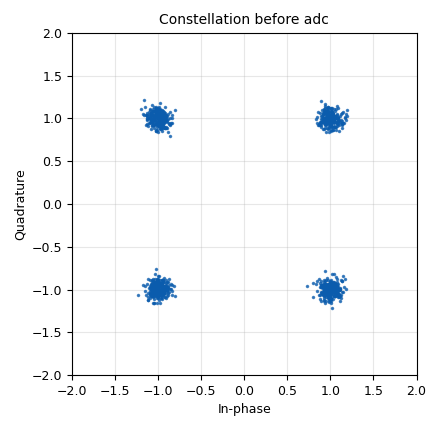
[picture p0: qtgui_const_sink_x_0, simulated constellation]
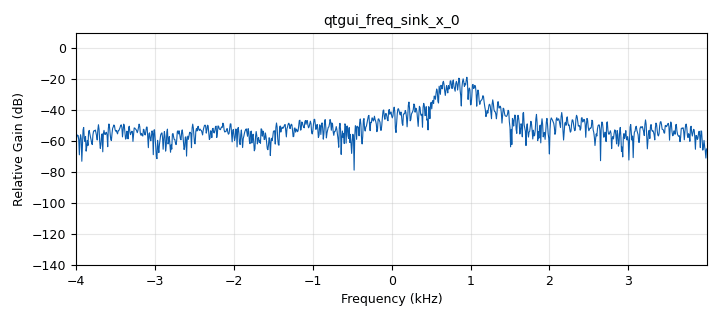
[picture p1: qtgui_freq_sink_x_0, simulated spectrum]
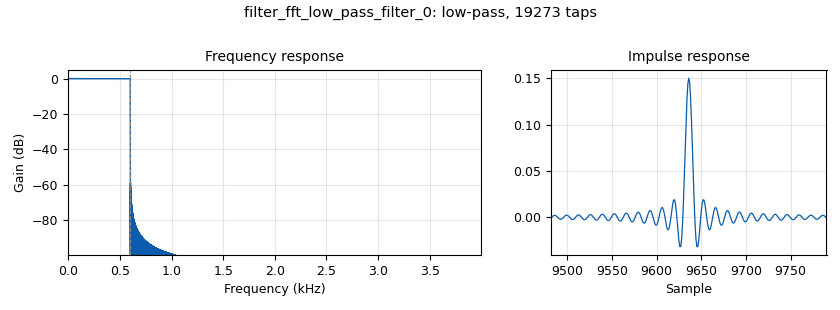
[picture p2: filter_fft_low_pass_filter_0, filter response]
options:
  parameters:
    author: IvanB
    generate_options: qt_gui
    id: untitled
    output_language: python
    title: Not titled yet
  states: {}

blocks:
- name: Vpp
  id: variable
  parameters:
    value: '2'
  states: {}
- name: beta
  id: variable
  parameters:
    value: '0.2'
  states: {}
- name: cutoff_freq
  id: variable
  parameters:
    value: '600'
  states: {}
- name: enob
  id: variable
  parameters:
    value: '3'
  states: {}
- name: fp
  id: variable
  parameters:
    value: fs/10
  states: {}
- name: fs
  id: variable
  parameters:
    value: '8000'
  states: {}
- name: n_samples
  id: variable
  parameters:
    value: fs*time
  states: {}
- name: noise
  id: variable_qtgui_range
  parameters:
    start: '0'
    step: '0.001'
    stop: '0.5'
    value: '0.1'
  states: {}
- name: qpsk
  id: variable
  parameters:
    value: '[-1-1j,+1-1j,1+1j,-1+1j]'
  states: {}
- name: samples_per_symbol
  id: variable
  parameters:
    value: '20'
  states: {}
- name: syms
  id: variable
  parameters:
    value: '10'
  states: {}
- name: time
  id: variable
  parameters:
    value: '0.5'
  states: {}
- name: upsampling
  id: variable
  parameters:
    value: '64'
  states: {}
- name: analog_noise_source_x_0
  id: analog_noise_source_x
  parameters:
    amp: noise
    noise_type: analog.GR_GAUSSIAN
    seed: '0'
    type: complex
  states: {}
- name: analog_random_source_x_0
  id: analog_random_source_x
  parameters:
    max: '255'
    min: '0'
    num_samps: '1000'
    repeat: 'True'
    type: byte
  states: {}
- name: blocks_add_xx_0
  id: blocks_add_xx
  parameters:
    type: complex
  states: {}
- name: blocks_complex_to_real_0
  id: blocks_complex_to_real
  parameters: {}
  states: {}
- name: blocks_packed_to_unpacked_xx_0
  id: blocks_packed_to_unpacked_xx
  parameters:
    bits_per_chunk: '2'
    endianness: gr.GR_MSB_FIRST
    type: byte
  states: {}
- name: blocks_repeat_0
  id: blocks_repeat
  parameters:
    interp: upsampling
    type: float
  states: {}
- name: blocks_throttle2_0
  id: blocks_throttle2
  parameters:
    samples_per_second: fs
    type: complex
  states: {state: disabled}
- name: digital_chunks_to_symbols_xx_0
  id: digital_chunks_to_symbols_xx
  parameters:
    dimension: '1'
    in_type: byte
    out_type: complex
    symbol_table: qpsk
  states: {}
- name: epy_block_0
  id: epy_block
  parameters:
    P: samples_per_symbol
    _source_code: |
      import numpy as np
      from gnuradio import gr
      from scipy import signal


      class blk(gr.sync_block):  # other base classes are basic_block, decim_block, interp_block
          """Convolve Block"""

          def __init__(self, syms=10, beta=0.2, P=20):  # only default arguments here
              """Arguments to this function show up as parameters in GRC"""
              gr.sync_block.__init__(
                  self,
                  name='Convolve',  # will show up in GRC
                  in_sig=[np.complex64],
                  out_sig=[np.complex64]
              )
              self.syms = syms
              self.beta = beta
              self.P = P

          def root_raised_cos(self):
              k = np.arange(-self.syms * self.P + 1e-8, (self.syms * self.P + 1e-8) + 1)
              s = (np.sin(np.pi * (1 - self.beta) * k / self.P) +
                   4 * self.beta * k / self.P * np.cos(np.pi * k / self.P * (1 + self.beta))) / \
                  (np.pi * k / self.P * (1 - 16 * (self.beta**2) * (k / self.P)**2))
              s = s / np.sqrt(np.sum(np.abs(s)**2))
              return s

          def work(self, input_items, output_items):
              h_rrc = self.root_raised_cos()
              signal_qpsk = signal.convolve(input_items[0], h_rrc, mode='same')
              output_items[0][:] = signal_qpsk
              return len(output_items[0])
    beta: beta
    syms: syms
  states: {}
- name: epy_block_0_0
  id: epy_block
  parameters:
    Vpp: Vpp
    _source_code: |-
      import numpy as np
      from gnuradio import gr

      class blk(gr.sync_block):  
          """ADC Delta Sigma Block"""

          def __init__(self, Vpp=2, enob=3, upsampling=64):  # only default arguments here
              """arguments to this function show up as parameters in GRC"""
              gr.sync_block.__init__(
                  self,
                  name='ADC delta sigma qpsk',   # will show up in GRC
                  in_sig=[np.float32],
                  out_sig=[np.float32]
              )
              self.Vpp = Vpp
              self.enob = enob
              self.upsampling = upsampling

          def ADC_Delta_Sigma(self, signal_in):
              signal_feedback = np.zeros(len(signal_in))
              signal_integrator = np.zeros(len(signal_in))
              signal_out = np.zeros(len(signal_in))
              
              # Loop
              for i in np.arange(0, len(signal_in)):
                  # Delta
                  if i == 0:
                      signal_feedback[i] = signal_in[i]
                  else:
                      signal_feedback[i] = signal_in[i] - signal_out[i-1]
                  
                  # Intégrateur
                  if i == 0:
                      signal_integrator[i] = signal_feedback[i]
                  else:
                      signal_integrator[i] = signal_feedback[i] + signal_integrator[i-1]

                  signal_integrator[i] = self.Vpp / (2**self.enob) * np.round(signal_integrator[i] / (self.Vpp / (2**self.enob)))
              
                  # Comparateur
                  if signal_integrator[i] >= 0:
                      signal_out[i] = self.Vpp / 2
                  else:
                      signal_out[i] = -self.Vpp / 2
                      
              return signal_out

          def work(self, input_items, output_items):
              signal_in = input_items[0]
              signal_out = self.ADC_Delta_Sigma(signal_in)
              output_items[0][:] = signal_out
              return len(output_items[0])
    enob: enob
    upsampling: upsampling
  states: {}
- name: epy_block_1
  id: epy_block
  parameters:
    _source_code: |
      import numpy as np
      from gnuradio import gr

      class blk(gr.sync_block):  # other base classes are basic_block, decim_block, interp_block
          """Embedded Python Block example - a simple multiply const"""

          def __init__(self, fs=8000, frequency=800):  # only default arguments here
              """arguments to this function show up as parameters in GRC"""
              gr.sync_block.__init__(
                  self,
                  name='Frequency offset',   # will show up in GRC
                  in_sig=[np.complex64],
                  out_sig=[np.complex64]
              )
              self.fs = fs
              self.frequency = frequency

          def frequency_offset(self, signal_in):
              time = np.arange(0, signal_in.size) / self.fs
              signal_LO = np.exp(1j * 2 * np.pi * self.frequency * time)
              return signal_in * signal_LO

          def work(self, input_items, output_items):
              output_items[0][:] = self.frequency_offset(input_items[0])
              return len(output_items[0])
    frequency: fp
    fs: fs
  states: {}
- name: epy_block_1_0
  id: epy_block
  parameters:
    _source_code: |
      import numpy as np
      from gnuradio import gr

      class blk(gr.sync_block):  # other base classes are basic_block, decim_block, interp_block
          """Embedded Python Block example - a simple multiply const"""

          def __init__(self, fs=8000, frequency=800):  # only default arguments here
              """arguments to this function show up as parameters in GRC"""
              gr.sync_block.__init__(
                  self,
                  name='Frequency offset',   # will show up in GRC
                  in_sig=[np.complex64],
                  out_sig=[np.complex64]
              )
              self.fs = fs
              self.frequency = frequency

          def frequency_offset(self, signal_in):
              time = np.arange(0, signal_in.size) / self.fs
              signal_LO = np.exp(1j * 2 * np.pi * self.frequency * time)
              return signal_in * signal_LO

          def work(self, input_items, output_items):
              output_items[0][:] = self.frequency_offset(input_items[0])
              return len(output_items[0])
    frequency: '-fp'
    fs: fs
  states: {}
- name: epy_block_2
  id: epy_block
  parameters:
    _source_code: |
      import numpy as np
      from gnuradio import gr
      from scipy import signal

      class blk(gr.sync_block):  # other base classes are basic_block, decim_block, interp_block
          """Embedded Python Block example - a simple lowpass filter"""

          def __init__(self, fs=8000, cutoff_freq=600, upsampling = 64):  # only default arguments here
              """arguments to this function show up as parameters in GRC"""
              gr.sync_block.__init__(
                  self,
                  name='low pass filter + decimation',   # will show up in GRC
                  in_sig=[np.complex64],
                  out_sig=[np.complex64]
              )
              # if an attribute with the same name as a parameter is found,
              # a callback is registered (properties work, too).
              self.fs = fs
              self.cutoff_freq = cutoff_freq
              self.upsampling = upsampling

          def lowpass_filter(self, signal_in):
              nyquist = self.fs / 2
              normal_cutoff = self.cutoff_freq / nyquist
              nb_coeff = 101
              coeff_FIR = signal.firwin(nb_coeff, normal_cutoff, window='hamming')
              filtered_signal = signal.convolve(signal_in, coeff_FIR, mode='same')
              return filtered_signal

          def work(self, input_items, output_items):

              signal_filtered = self.lowpass_filter(input_items[0])

              output_items[0][:] = signal.decimate(signal_filtered,upsampling,ftype ='fir')

              return len(output_items[0])
    cutoff_freq: cutoff_freq
    fs: fs
    upsampling: upsampling
  states: {state: disabled}
- name: epy_block_3
  id: epy_block
  parameters:
    _source_code: |
      """
      Embedded Python Blocks:

      Each time this file is saved, GRC will instantiate the first class it finds
      to get ports and parameters of your block. The arguments to __init__  will
      be the parameters. All of them are required to have default values!
      """

      import numpy as np
      from gnuradio import gr
      from scipy import signal


      class blk(gr.sync_block):  # other base classes are basic_block, decim_block, interp_block
          """Embedded Python Block example - a simple multiply const"""

          def __init__(self):  # only default arguments here
              """arguments to this function show up as parameters in GRC"""
              gr.sync_block.__init__(
                  self,
                  name='hilbert own',   # will show up in GRC
                  in_sig=[np.float32],
                  out_sig=[np.complex64]
              )

          def work(self, input_items, output_items):
              output_items[0][:] = signal.hilbert(input_items[0])
              return len(output_items[0])
  states: {}
- name: epy_block_4
  id: epy_block
  parameters:
    P: samples_per_symbol
    _source_code: |
      import numpy as np
      from gnuradio import gr
      from scipy import signal

      class QPSKDemodulator(gr.sync_block):
          """QPSK Demodulation Block"""

          def __init__(self, syms=10, beta=0.2, P=20, nb_symbols=4000):
              """Constructor for QPSK Demodulation Block"""
              gr.sync_block.__init__(
                  self,
                  name='QPSK Demodulator',  # Block name displayed in GRC
                  in_sig=[np.complex64],     # Input signal type (complex64)
                  out_sig=[np.complex64]     # Output signal type (complex64)
              )
              self.syms = syms      # Number of symbols
              self.beta = beta      # Roll-off factor of RRC filter
              self.P = P            # Oversampling factor
              self.nb_symbols = nb_symbols  # Number of QPSK symbols

          def root_raised_cos(self):
              k = np.arange(-self.syms * self.P, self.syms * self.P + 1e-8)
              s = (np.sin(np.pi * (1 - self.beta) * k / self.P) +
                   4 * self.beta * k / self.P * np.cos(np.pi * k / self.P * (1 + self.beta))) / \
                  (np.pi * k / self.P * (1 - 16 * (self.beta**2) * (k / self.P)**2))
              s = s / np.sqrt(np.sum(np.abs(s)**2))
              return s

          def qpsk(self):
              h_rrc = self.root_raised_cos()
              symbols = np.random.randint(4, size=self.nb_symbols)
              signal_raw = np.repeat(np.exp(1j * np.pi * (symbols / 2 + 1/4)), self.P)
              delay = (len(h_rrc) - 1) // 2
              signal_qpsk = signal.convolve(signal_raw, h_rrc, mode='same')
              return signal_qpsk, delay

          def work(self, input_items, output_items):
              h_rrc = self.root_raised_cos()
              h_rrc_inv = np.flipud(h_rrc)
              demod_convolv = signal.convolve(input_items[0], h_rrc_inv, mode='same')
              symbols_out_demod = demod_convolv[0::self.P]

              output_items[0][:] = symbols_out_demod
              return len(output_items[0])
    beta: beta
    nb_symbols: n_samples
    syms: syms
  states: {}
- name: filter_fft_low_pass_filter_0
  id: filter_fft_low_pass_filter
  parameters:
    cutoff_freq: cutoff_freq
    decim: upsampling
    gain: '1'
    samp_rate: fs
    type: ccc
    width: '1'
    win: window.WIN_HAMMING
  states: {}
- name: qtgui_const_sink_x_0
  id: qtgui_const_sink_x
  parameters:
    name: '"Constellation before adc"'
    size: '1024'
    type: complex
  states: {}
- name: qtgui_const_sink_x_0_0
  id: qtgui_const_sink_x
  parameters:
    name: '"Constellation after adc"'
    size: '1024'
    type: complex
  states: {}
- name: qtgui_freq_sink_x_0
  id: qtgui_freq_sink_x
  parameters:
    bw: fs
    fc: '0'
    fftsize: '1024'
    type: complex
  states: {}

connections:
- [analog_noise_source_x_0, '0', blocks_add_xx_0, '1']
- [analog_random_source_x_0, '0', blocks_packed_to_unpacked_xx_0, '0']
- [blocks_add_xx_0, '0', epy_block_0, '0']
- [blocks_add_xx_0, '0', qtgui_const_sink_x_0, '0']
- [blocks_complex_to_real_0, '0', blocks_repeat_0, '0']
- [blocks_packed_to_unpacked_xx_0, '0', digital_chunks_to_symbols_xx_0, '0']
- [blocks_repeat_0, '0', epy_block_0_0, '0']
- [blocks_throttle2_0, '0', filter_fft_low_pass_filter_0, '0']
- [digital_chunks_to_symbols_xx_0, '0', blocks_add_xx_0, '0']
- [epy_block_0, '0', epy_block_1, '0']
- [epy_block_0_0, '0', epy_block_3, '0']
- [epy_block_1, '0', blocks_complex_to_real_0, '0']
- [epy_block_1, '0', qtgui_freq_sink_x_0, '0']
- [epy_block_1_0, '0', epy_block_4, '0']
- [epy_block_3, '0', blocks_throttle2_0, '0']
- [epy_block_3, '0', filter_fft_low_pass_filter_0, '0']
- [epy_block_4, '0', qtgui_const_sink_x_0_0, '0']
- [filter_fft_low_pass_filter_0, '0', epy_block_1_0, '0']

metadata:
  file_format: 1
  grc_version: 3.10.10.0
